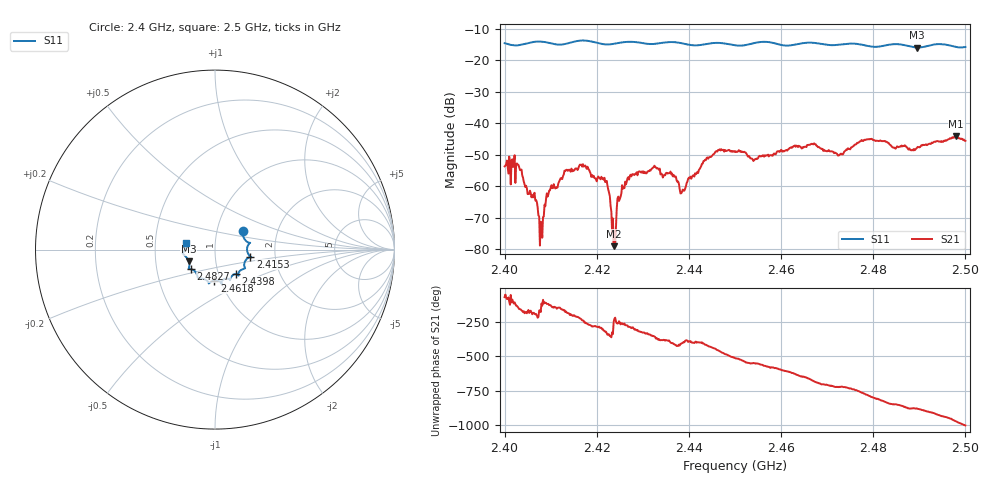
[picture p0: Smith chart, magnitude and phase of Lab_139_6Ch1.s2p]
# Hz S RI R 50
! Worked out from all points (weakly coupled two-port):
!   601 points, 2.4 GHz to 2.5 GHz, reference 50 ohm
!   highest |S21| = -44.13 dB at 2.498 GHz (marker M1); lowest = -79.0 dB at 2.4237 GHz (marker M2)
!   lowest |S11| = -15.9 dB at 2.4895 GHz (marker M3), VSWR 1.38, Z = 37 - j5 ohm
!   |S11| at or under -10 dB: start of sweep to end of sweep
!   S12 and S22 are empty: the file has one direction only
!   S11 on the Smith chart (normalised r, x): 2.4 GHz: 1.33, +0.29; 2.4153 GHz: 1.48, -0.12; 2.4398 GHz: 1.21, -0.34; 2.4618 GHz: 0.94, -0.33; 2.4827 GHz: 0.75, -0.17; 2.5 GHz: 0.72, +0.06
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2.4e9  0.155 0.1063  0.000767 -0.00194  0 0  0 0
2.403167e9  0.1657 0.057  -0.00183 -0.00084  0 0  0 0
2.408e9  0.1954 0.0379  -0.000112 -0.000239  0 0  0 0
2.409667e9  0.1876 0.03  -0.000515 -0.000685  0 0  0 0
2.415333e9  0.1968 -0.039  -0.00169 0.000923  0 0  0 0
2.416667e9  0.2028 -0.0431  -0.00141 0.00171  0 0  0 0
2.421833e9  0.1688 -0.0625  0.00091 0.000741  0 0  0 0
2.423667e9  0.1628 -0.0846  -3.95e-05 0.000106  0 0  0 0
2.425e9  0.1647 -0.0969  -0.00018 0.000602  0 0  0 0
2.427167e9  0.1683 -0.1038  0.000391 0.00139  0 0  0 0
2.433333e9  0.1298 -0.134  0.00182 -0.000616  0 0  0 0
2.4385e9  0.126 -0.1385  0.000591 -0.000566  0 0  0 0
2.439833e9  0.1153 -0.1361  0.00108 -0.000759  0 0  0 0
2.446167e9  0.0841 -0.1706  -0.000302 -0.00357  0 0  0 0
2.45e9  0.065 -0.1616  -0.00313 -0.00163  0 0  0 0
2.461833e9  -0.0031 -0.1728  -0.00121 0.00389  0 0  0 0
2.466667e9  -0.0347 -0.1883  0.00329 0.00345  0 0  0 0
2.482667e9  -0.1349 -0.1088  -0.00203 -0.00471  0 0  0 0
2.483333e9  -0.1401 -0.1085  -0.00266 -0.00414  0 0  0 0
2.4895e9  -0.1462 -0.0658  -0.00388 -0.0014  0 0  0 0
2.498e9  -0.1635 0.0052  -0.00163 0.006  0 0  0 0
2.5e9  -0.1591 0.0388  0.00131 0.00514  0 0  0 0
